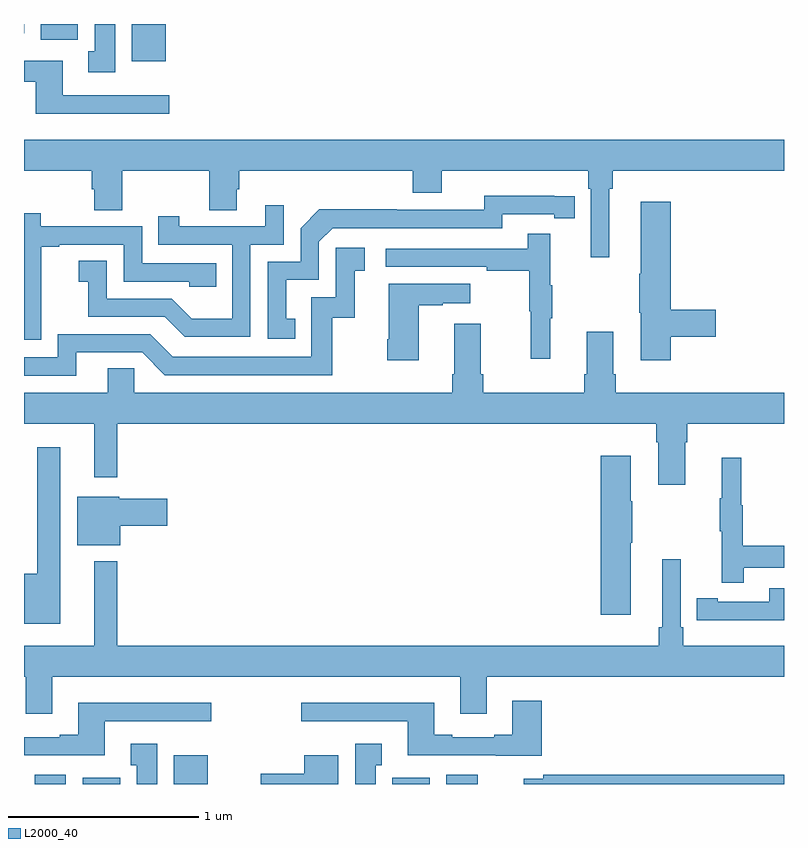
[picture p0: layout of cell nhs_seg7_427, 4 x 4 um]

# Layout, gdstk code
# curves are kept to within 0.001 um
import gdstk
lib = gdstk.Library(unit=1e-6, precision=1e-09)
def R(c, l, rs):  # rectangles x0, y0, x1, y1
    for r in rs: c.add(gdstk.rectangle(r[:2], r[2:], *l))
def P(c, l, *ps):  # polygons
    for p in ps: c.add(gdstk.Polygon(p, *l))
L2000_40 = (2000, 40)

nhs_seg7_427 = lib.new_cell('nhs_seg7_427')
R(nhs_seg7_427, L2000_40, [(143.057,1052,143.221,1052.05), (143.309,1052,143.506,1052.032), (143.789,1052,143.968,1052.152), (144.938,1052,145.135,1052.032), (145.223,1052,145.387,1052.05), (143.567,1055.804,143.746,1056), (143.087,1055.916,143.283,1056), (143,1055.952,143.002,1056)])
P(nhs_seg7_427, L2000_40, [(143.479,1056),(143.372,1056),(143.372,1055.857),(143.339,1055.857),(143.339,1055.745),(143.479,1055.745)],
  [(143.764,1055.625),(143.203,1055.625),(143.203,1055.806),(143,1055.806),(143,1055.697),(143.063,1055.697),(143.063,1055.528),(143.764,1055.528)],
  [(146.08,1055.132),(146.099,1055.132),(146.099,1055.228),(147,1055.228),(147,1055.392),(143,1055.392),(143,1055.228),(143.357,1055.228),(143.357,1055.13),(143.369,1055.13),(143.369,1055.02),(143.517,1055.02),(143.517,1055.228),(143.974,1055.228),(143.974,1055.02),(144.121,1055.02),(144.121,1055.13),(144.134,1055.13),(144.134,1055.228),(145.046,1055.228),(145.046,1055.111),(145.198,1055.111),(145.198,1055.228),(145.97,1055.228),(145.97,1055.132),(145.983,1055.132),(145.983,1054.773),(146.08,1054.773)],
  [(144.428,1054.449),(144.379,1054.449),(144.379,1054.653),(144.552,1054.653),(144.552,1054.854),(144.624,1054.926),(145.518,1054.926),(145.518,1054.998),(145.79,1054.998),(145.79,1054.978),(145.898,1054.978),(145.898,1055.094),(145.422,1055.095),(145.422,1055.022),(144.962,1055.022),(144.962,1055.024),(144.554,1055.024),(144.456,1054.926),(144.456,1054.749),(144.282,1054.749),(144.282,1054.344),(144.428,1054.344)],
  [(146.405,1054.354),(146.641,1054.354),(146.641,1054.496),(146.405,1054.496),(146.405,1055.065),(146.246,1055.065),(146.246,1054.685),(146.239,1054.685),(146.239,1054.479),(146.246,1054.479),(146.246,1054.23),(146.405,1054.23)],
  [(144.192,1054.839),(144.366,1054.839),(144.366,1055.047),(144.269,1055.047),(144.269,1054.935),(143.818,1054.935),(143.818,1054.987),(143.707,1054.987),(143.707,1054.839),(144.096,1054.839),(144.096,1054.45),(143.882,1054.45),(143.778,1054.554),(143.436,1054.554),(143.436,1054.753),(143.289,1054.753),(143.289,1054.643),(143.338,1054.643),(143.338,1054.458),(143.741,1054.458),(143.846,1054.353),(144.192,1054.353)],
  [(143.091,1054.543),(143.09,1054.543),(143.09,1054.827),(143.185,1054.827),(143.185,1054.839),(143.526,1054.839),(143.526,1054.644),(143.871,1054.644),(143.871,1054.617),(144.011,1054.617),(144.011,1054.74),(143.622,1054.74),(143.622,1054.935),(143.088,1054.935),(143.088,1055.004),(143,1055.004),(143,1054.337),(143.091,1054.337)],
  [(145.769,1054.451),(145.78,1054.451),(145.78,1054.625),(145.769,1054.625),(145.769,1054.897),(145.651,1054.897),(145.651,1054.818),(144.903,1054.818),(144.903,1054.722),(145.435,1054.722),(145.435,1054.702),(145.659,1054.702),(145.659,1054.488),(145.666,1054.488),(145.666,1054.239),(145.769,1054.239)],
  [(143.275,1054.272),(143.622,1054.272),(143.742,1054.152),(144.622,1054.152),(144.622,1054.455),(144.74,1054.455),(144.74,1054.701),(144.793,1054.701),(144.793,1054.822),(144.642,1054.822),(144.642,1054.563),(144.513,1054.563),(144.513,1054.248),(143.784,1054.248),(143.664,1054.368),(143.178,1054.368),(143.178,1054.245),(143,1054.245),(143,1054.149),(143.275,1054.149)],
  [(145.078,1054.519),(145.205,1054.519),(145.205,1054.529),(145.348,1054.529),(145.348,1054.633),(144.92,1054.633),(144.92,1054.342),(144.913,1054.342),(144.913,1054.23),(145.078,1054.23)],
  [(143.441,1054.06),(143,1054.06),(143,1053.896),(143.369,1053.896),(143.369,1053.615),(143.491,1053.615),(143.491,1053.896),(146.327,1053.896),(146.327,1053.8),(146.339,1053.8),(146.339,1053.576),(146.479,1053.576),(146.479,1053.8),(146.492,1053.8),(146.492,1053.896),(147,1053.896),(147,1054.06),(146.114,1054.06),(146.114,1054.156),(146.101,1054.156),(146.101,1054.381),(145.961,1054.381),(145.961,1054.156),(145.949,1054.156),(145.949,1054.06),(145.418,1054.06),(145.418,1054.156),(145.405,1054.156),(145.405,1054.423),(145.265,1054.423),(145.265,1054.156),(145.253,1054.156),(145.253,1054.06),(143.58,1054.06),(143.58,1054.187),(143.441,1054.187)],
  [(143.191,1053.772),(143.07,1053.772),(143.07,1053.106),(143,1053.106),(143,1052.843),(143.191,1052.843)],
  [(146.194,1053.271),(146.202,1053.271),(146.202,1053.488),(146.194,1053.488),(146.194,1053.727),(146.036,1053.727),(146.036,1052.892),(146.194,1052.892)],
  [(146.789,1053.138),(147,1053.138),(147,1053.254),(146.782,1053.254),(146.782,1053.468),(146.774,1053.468),(146.774,1053.718),(146.672,1053.718),(146.672,1053.505),(146.661,1053.505),(146.661,1053.331),(146.672,1053.331),(146.672,1053.06),(146.789,1053.06)],
  [(143.506,1053.359),(143.755,1053.359),(143.755,1053.501),(143.502,1053.501),(143.502,1053.511),(143.279,1053.511),(143.279,1053.257),(143.506,1053.257)],
  [(143.491,1053.172),(143.369,1053.172),(143.369,1052.728),(143,1052.728),(143,1052.564),(143.009,1052.564),(143.009,1052.37),(143.149,1052.37),(143.149,1052.564),(145.295,1052.564),(145.295,1052.37),(145.435,1052.37),(145.435,1052.564),(147,1052.564),(147,1052.728),(146.471,1052.728),(146.471,1052.824),(146.457,1052.824),(146.457,1053.184),(146.36,1053.184),(146.36,1052.824),(146.341,1052.824),(146.341,1052.728),(143.491,1052.728)],
  [(147,1053.03),(146.922,1053.03),(146.922,1052.958),(146.65,1052.958),(146.65,1052.978),(146.542,1052.978),(146.542,1052.862),(146.65,1052.862),(146.65,1052.861),(147,1052.861)],
  [(145.724,1052.437),(145.571,1052.437),(145.571,1052.26),(145.475,1052.26),(145.475,1052.247),(145.255,1052.247),(145.255,1052.26),(145.159,1052.26),(145.159,1052.428),(144.459,1052.428),(144.459,1052.331),(145.019,1052.331),(145.019,1052.151),(145.483,1052.151),(145.483,1052.15),(145.724,1052.15)],
  [(143.425,1052.331),(143.986,1052.331),(143.986,1052.428),(143.285,1052.428),(143.285,1052.26),(143.189,1052.26),(143.189,1052.247),(143,1052.247),(143,1052.151),(143.425,1052.151)],
  [(143.701,1052.212),(143.561,1052.212),(143.561,1052.099),(143.594,1052.099),(143.594,1052),(143.701,1052)],
  [(144.85,1052.099),(144.883,1052.099),(144.883,1052.212),(144.743,1052.212),(144.743,1052),(144.85,1052)],
  [(144.655,1052.152),(144.476,1052.152),(144.476,1052.054),(144.246,1052.054),(144.246,1052),(144.655,1052)],
  [(147,1052.048),(145.732,1052.048),(145.732,1052.028),(145.629,1052.028),(145.629,1052),(147,1052)])

lib.write_gds('nhs_seg7_427.gds')
